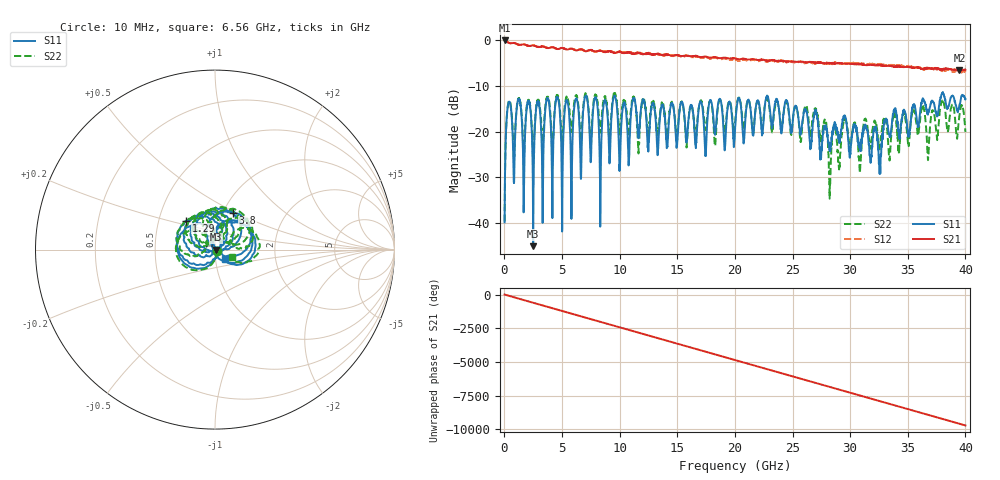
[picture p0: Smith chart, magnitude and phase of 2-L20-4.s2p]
! 2/21/2025 7:14:57 AM
! Z:\OQC\AD5\613\LOT-141-0825\SINGLE\2-L20-4.S2P
! CHANNEL.1
! TR.MEASUREMENT
! CORRECTED.DATA
! RF.CORRECTION: FULL.FOUR.PORT.CAL.PORT.1.2.3.4
! AVERAGING.OFF
! IF.BANDWIDTH: 1KHZ
! SWEEPTYPE:  FREQ.SWEEP(Linear)
! Reference Plane Port Info
! PORT:  PORT1  PORT2
! DISTANCE:  0  m  0  m
! TIME:  0  s  0  s
! PHASE.OFFSET:  0 °  0 °
! LOSS:  0  dB  0  dB
! REF.LOSS:  0  dB  0  dB
! REF.FREQ:  0  Hz  0  Hz
! Power Info
! POWER:  -10  dBm  -10  dBm
! EFF.POWER:  -10  dBm  -10  dBm
! SOURCE.ATTEN:  0  dB  0  dB
! TEST.ATTEN:  0  dB  0  dB
# GHZ S RI R 50.0
! FREQ.GHZ  S11RE  S11IM  S21RE  S21IM  S12RE  S12IM  S22RE  S22IM
!; PortSelection: Port_12
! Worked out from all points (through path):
!   4000 points, 10 MHz to 40 GHz, reference 50 ohm
!   highest |S21| = -0.08 dB at 10 MHz (marker M1); lowest = -6.6 dB at 39.48 GHz (marker M2)
!   group delay of S21, straight-line fit = 674 ps
!   lowest |S11| = -45.0 dB at 2.49 GHz (marker M3), VSWR 1.01, Z = 50.6 - j0.0245 ohm
!   |S11| at or under -10 dB: start of sweep to end of sweep
!   |S22| runs from -39.6 to -11.4 dB; largest |S21 - S12| = 0.039
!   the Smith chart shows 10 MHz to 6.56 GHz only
!   S11 on the Smith chart (normalised r, x): 10 MHz: 1.02, -0.01; 1.29 GHz: 0.69, +0.24; 3.8 GHz: 1.12, +0.48; 6.56 GHz: 1.11, -0.12
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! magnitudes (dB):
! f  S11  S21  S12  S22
! 10 MHz  -39.8  -0.1  -0.1  -39.6
! 340 MHz  -13.8  -0.6  -0.6  -13.6
! 820 MHz  -31.1  -0.6  -0.6  -26.3
! 1.29 GHz  -12.9  -1.1  -1.0  -12.7
! 2.49 GHz  -45.0  -1.2  -1.2  -27.1
! 3.8 GHz  -12.9  -1.7  -1.7  -12.6
! 4.14 GHz  -33.4  -1.6  -1.5  -24.8
! 4.58 GHz  -12.5  -2.0  -1.9  -12.0
! 4.99 GHz  -38.4  -1.7  -1.7  -22.5
! 5.4 GHz  -13.2  -2.1  -2.0  -12.5
! 6.56 GHz  -22.4  -2.1  -2.0  -19.7
! 6.68 GHz  -25.3  -2.0  -2.0  -21.3
! 7.06 GHz  -12.2  -2.5  -2.3  -11.8
! 8.31 GHz  -40.7  -2.3  -2.3  -20.2
! 9.55 GHz  -12.2  -2.8  -2.7  -11.6
! 9.99 GHz  -27.6  -2.6  -2.5  -19.8
! 13.34 GHz  -23.7  -3.1  -3.1  -20.6
! 20.01 GHz  -19.1  -4.0  -4.2  -18.2
! 26.67 GHz  -21.6  -4.7  -4.9  -19.0
! 33.34 GHz  -20.2  -5.6  -5.5  -24.3
! 39.48 GHz  -14.1  -6.6  -6.8  -16.5
! 40 GHz  -12.9  -6.5  -6.7  -20.1
